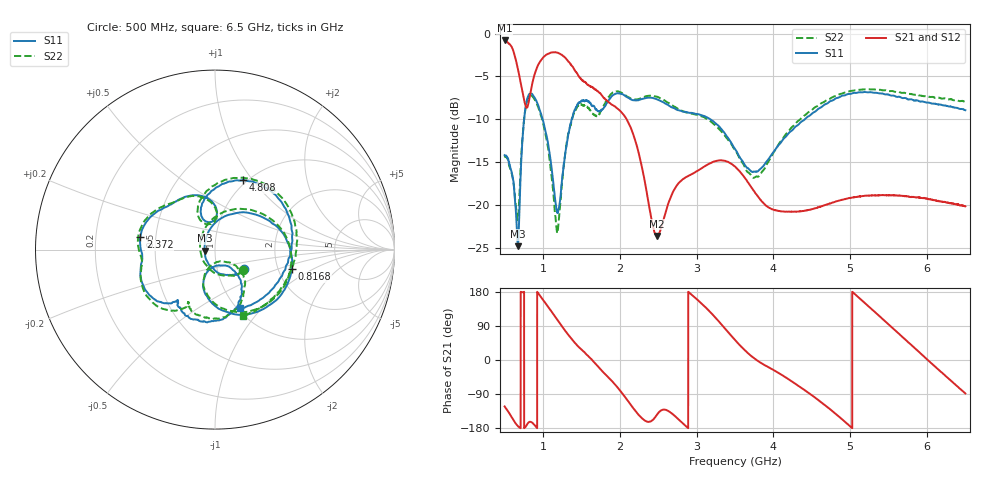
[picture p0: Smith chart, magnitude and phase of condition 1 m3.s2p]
# Hz S DB R 50
! CMT, S5065, 24347010, 24.3.4/3
! Date: 10/15/2024 11:50:38 AM
! Data: Format (Calibration Info)
! Freq	S11:dB/Ang(F2)	S21:dB/Ang(F2)	S12:dB/Ang(F2)	S22:dB/Ang(F2)
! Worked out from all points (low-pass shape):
!   10001 points, 500 MHz to 6.5 GHz, reference 50 ohm
!   highest |S21| = -0.80 dB at 500.6 MHz (marker M1); lowest = -23.6 dB at 2.484 GHz (marker M2)
!   |S21| within 3 dB of the highest: start of sweep to 665.1 MHz; 929.4 MHz to 1.379 GHz (449.3 MHz wide, 38.9 % of centre)
!   lowest |S11| = -24.8 dB at 672.8 MHz (marker M3), VSWR 1.12, Z = 44.6 - j0.479 ohm
!   |S11| at or under -10 dB: start of sweep to 754 MHz; 994.4 MHz to 1.373 GHz (378.3 MHz wide, 32 % of centre); 3.176 GHz to 4.411 GHz (1.235 GHz wide, 32.6 % of centre)
!   |S22| runs from -23.2 to -6.5 dB; largest |S21 - S12| = 0.0036
!   S11 on the Smith chart (normalised r, x): 500 MHz: 1.35, -0.30; 816.8 MHz: 2.37, -0.63; 2.372 GHz: 0.41, +0.07; 4.808 GHz: 0.96, +0.90; 6.5 GHz: 1.03, -0.77
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5e8  -14.21 -33.5  -0.80 -122.5  -0.80 -122.6  -14.27 -36.5
5.006e8  -14.22 -33.6  -0.80 -122.7  -0.80 -122.7  -14.29 -36.7
6.728e8  -24.84 -174.6  -4.10 -174.5  -4.10 -174.6  -21.70 -179.8
7.436e8  -10.99 45.8  -7.31 179.1  -7.32 179.0  -10.94 52.4
8.168e8  -7.11 -14.1  -7.87 -163.9  -7.86 -164.0  -7.30 -10.5
8.972e8  -7.59 -56.6  -4.58 -173.2  -4.57 -173.3  -7.80 -53.9
9.986e8  -10.14 -90.5  -2.84 159.5  -2.83 159.5  -10.40 -89.9
1.184e9  -20.94 -84.8  -2.22 106.9  -2.22 106.8  -23.08 -77.5
1.3286e9  -11.79 -54.3  -3.25 66.5  -3.25 66.4  -11.69 -50.2
1.5002e9  -7.89 -95.0  -5.36 28.0  -5.33 27.8  -8.33 -93.4
1.9484e9  -7.03 -147.0  -8.61 -67.2  -8.60 -67.4  -6.78 -143.3
2.1686e9  -7.78 -172.7  -11.60 -125.3  -11.60 -125.5  -7.70 -169.8
2.372e9  -7.49 170.5  -19.69 -163.4  -19.71 -163.6  -7.27 173.1
2.4836e9  -7.67 158.6  -23.64 -144.3  -23.63 -144.7  -7.37 159.9
2.5004e9  -7.76 156.9  -23.57 -140.0  -23.58 -140.2  -7.43 158.3
2.7998e9  -9.04 134.9  -17.19 -163.2  -17.20 -163.5  -8.98 133.4
3.5e9  -13.48 86.8  -15.53 52.9  -15.55 52.6  -13.62 87.2
3.8018e9  -16.06 104.2  -19.08 -3.1  -19.09 -3.5  -16.72 106.7
4.5002e9  -9.37 90.0  -20.53 -92.9  -20.54 -93.5  -8.93 90.7
4.808e9  -7.59 68.1  -19.64 -141.6  -19.67 -142.0  -7.30 67.5
5.5004e9  -7.14 11.2  -18.89 94.0  -18.92 93.5  -6.71 10.4
6.5e9  -8.95 -66.9  -20.18 -88.4  -20.23 -88.3  -8.00 -67.4
